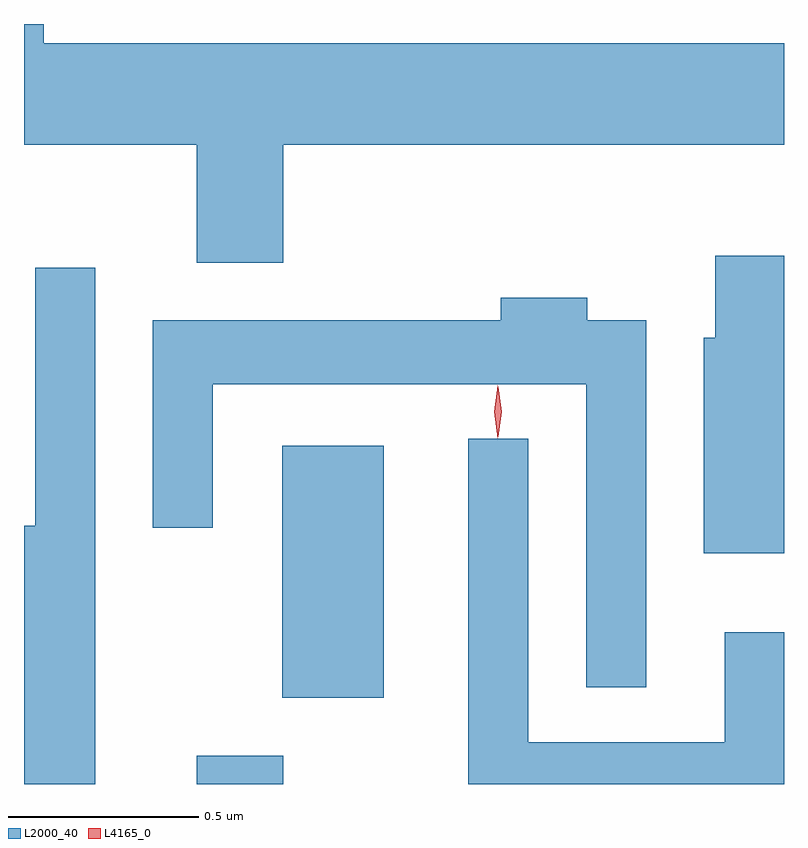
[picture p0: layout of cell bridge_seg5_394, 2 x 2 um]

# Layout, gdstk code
import gdstk
lib = gdstk.Library(unit=1e-6, precision=1e-09)
def R(c, l, rs):  # rectangles x0, y0, x1, y1
    for r in rs: c.add(gdstk.rectangle(r[:2], r[2:], *l))
def P(c, l, *ps):  # polygons
    for p in ps: c.add(gdstk.Polygon(p, *l))
L2000_40 = (2000, 40)
L4165_0 = (4165, 0)

bridge_seg5_394 = lib.new_cell('bridge_seg5_394')
R(bridge_seg5_394, L2000_40, [(582.081,1523.934,582.309,1524.009), (582.306,1524.161,582.574,1524.824)])
P(bridge_seg5_394, L2000_40, [(582.309,1525.616),(583.627,1525.616),(583.627,1525.884),(581.679,1525.884),(581.679,1525.934),(581.627,1525.934),(581.627,1525.616),(582.081,1525.616),(582.081,1525.306),(582.309,1525.306)],
  [(583.627,1525.324),(583.446,1525.324),(583.446,1525.109),(583.416,1525.109),(583.416,1524.541),(583.627,1524.541)],
  [(581.814,1525.293),(581.656,1525.293),(581.656,1524.614),(581.627,1524.614),(581.627,1523.934),(581.814,1523.934)],
  [(583.264,1525.154),(583.109,1525.154),(583.109,1525.214),(582.881,1525.214),(582.881,1525.154),(581.966,1525.154),(581.966,1524.608),(582.124,1524.608),(582.124,1524.986),(583.106,1524.986),(583.106,1524.188),(583.264,1524.188)],
  [(583.627,1524.334),(583.471,1524.334),(583.471,1524.044),(582.954,1524.044),(582.954,1524.843),(582.796,1524.843),(582.796,1523.934),(583.627,1523.934)])
P(bridge_seg5_394, L4165_0, [(582.874,1524.847),(582.874,1524.848),(582.864,1524.914),(582.874,1524.98),(582.874,1524.98),(582.875,1524.98),(582.884,1524.914),(582.875,1524.848)],
  [(582.874,1524.844),(582.874,1524.844),(582.864,1524.914),(582.874,1524.982),(582.874,1524.983),(582.874,1524.982),(582.884,1524.914),(582.874,1524.844)])

lib.write_gds('bridge_seg5_394.gds')
